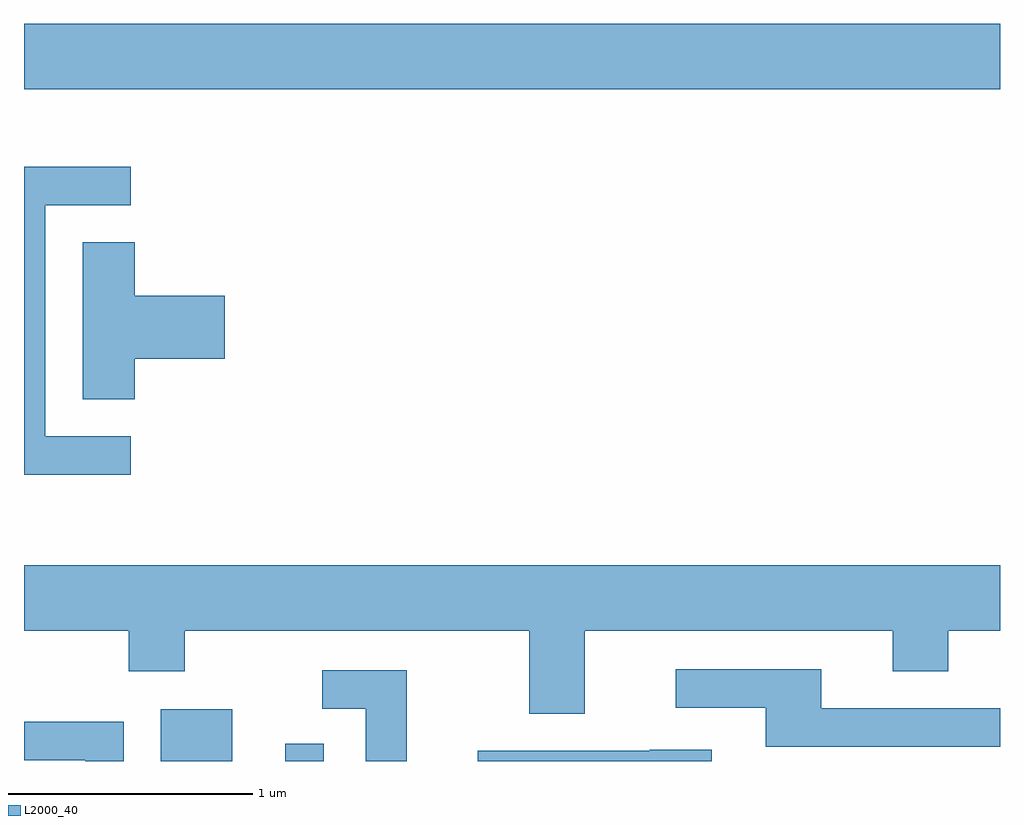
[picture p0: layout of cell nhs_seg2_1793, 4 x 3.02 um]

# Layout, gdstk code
import gdstk
lib = gdstk.Library(unit=1e-6, precision=1e-09)
def R(c, l, rs):  # rectangles x0, y0, x1, y1
    for r in rs: c.add(gdstk.rectangle(r[:2], r[2:], *l))
def P(c, l, *ps):  # polygons
    for p in ps: c.add(gdstk.Polygon(p, *l))
L2000_40 = (2000, 40)

nhs_seg2_1793 = lib.new_cell('nhs_seg2_1793')
R(nhs_seg2_1793, L2000_40, [(238.171,1027.802,238.464,1028.014), (238.681,1027.802,238.839,1027.873), (237.611,1030.556,241.611,1030.824)])
P(nhs_seg2_1793, L2000_40, [(238.048,1029.134),(237.699,1029.134),(237.699,1030.081),(238.048,1030.081),(238.048,1030.239),(237.611,1030.239),(237.611,1028.976),(238.048,1028.976)],
  [(238.064,1029.451),(238.434,1029.451),(238.434,1029.709),(238.064,1029.709),(238.064,1029.929),(237.851,1029.929),(237.851,1029.286),(238.064,1029.286)],
  [(239.909,1028.336),(241.171,1028.336),(241.171,1028.171),(241.399,1028.171),(241.399,1028.336),(241.611,1028.336),(241.611,1028.604),(237.611,1028.604),(237.611,1028.336),(238.041,1028.336),(238.041,1028.171),(238.269,1028.171),(238.269,1028.336),(239.681,1028.336),(239.681,1027.996),(239.909,1027.996)],
  [(241.611,1028.019),(240.879,1028.019),(240.879,1028.179),(240.283,1028.179),(240.283,1028.021),(240.651,1028.021),(240.651,1027.861),(241.611,1027.861)],
  [(239.179,1028.174),(238.833,1028.174),(238.833,1028.016),(239.011,1028.016),(239.011,1027.802),(239.179,1027.802)],
  [(238.019,1027.964),(237.611,1027.964),(237.611,1027.806),(237.861,1027.806),(237.861,1027.802),(238.019,1027.802)],
  [(240.429,1027.849),(240.175,1027.849),(240.175,1027.844),(239.471,1027.844),(239.471,1027.802),(240.429,1027.802)])

lib.write_gds('nhs_seg2_1793.gds')
